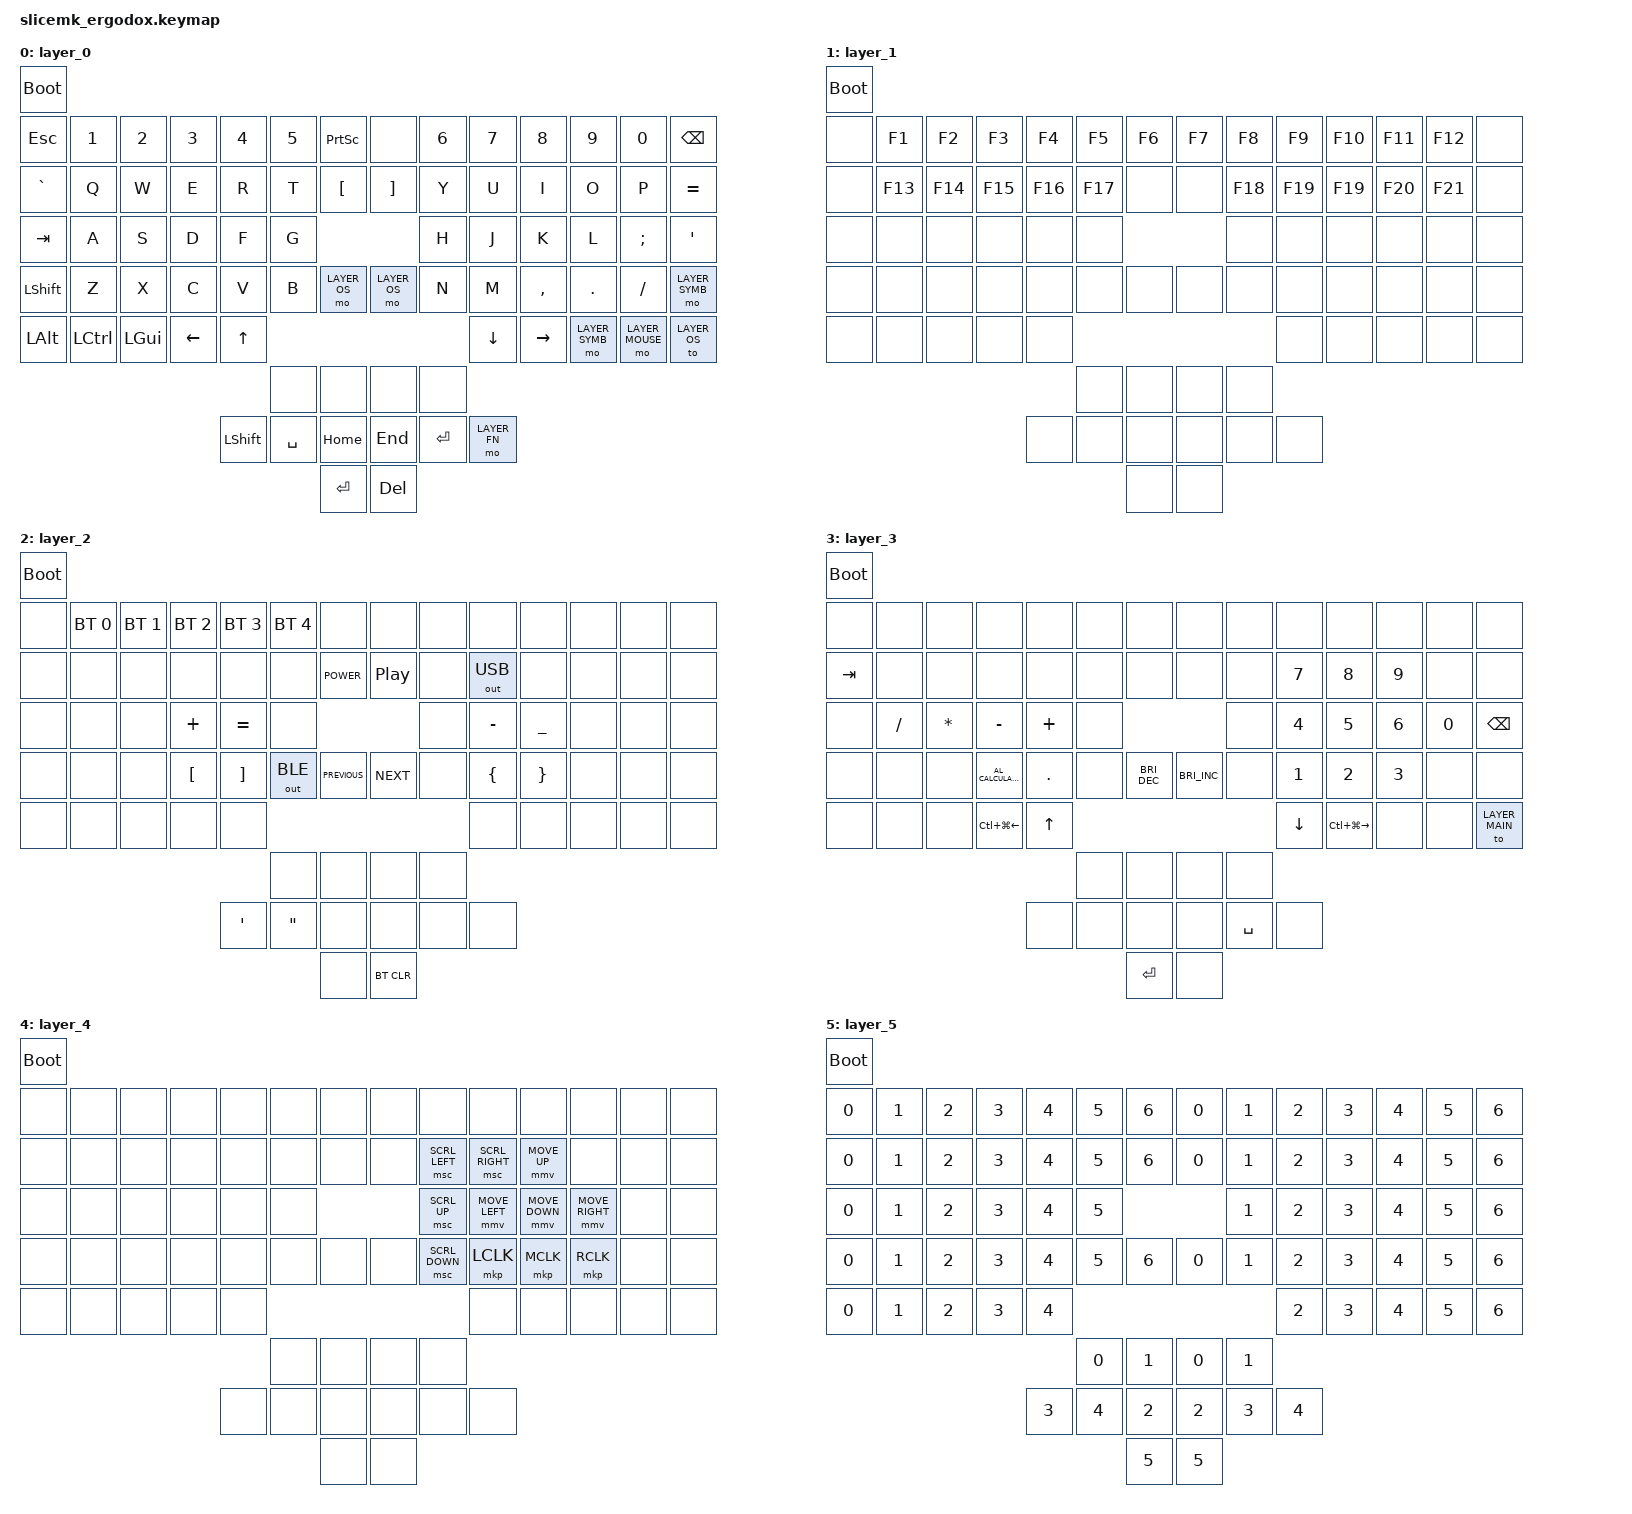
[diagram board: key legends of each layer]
#define LAYER_MAIN 0
#define LAYER_FN 1
#define LAYER_SYMB 2
#define LAYER_OS 3
#define LAYER_MOUSE 4
#define LAYER_TESTING 5

#include <behaviors.dtsi>
#include <dt-bindings/zmk/bt.h>
#include <dt-bindings/zmk/keys.h>
#include <dt-bindings/zmk/outputs.h>
#include <dt-bindings/zmk/pointing.h>
#include <dt-bindings/zmk/rgb.h>

/ {
	keymap {
		compatible = "zmk,keymap";
		layer_0 {
			bindings = <
				&bootloader
				&kp ESCAPE     &kp NUMBER_1     &kp NUMBER_2 &kp NUMBER_3   &kp NUMBER_4   &kp NUMBER_5 &kp PRINTSCREEN  &none             &kp NUMBER_6 &kp NUMBER_7   &kp NUMBER_8    &kp NUMBER_9   &kp NUMBER_0    &kp BACKSPACE
				&kp GRAVE      &kp Q            &kp W        &kp E          &kp R          &kp T        &kp LEFT_BRACKET &kp RIGHT_BRACKET &kp Y        &kp U          &kp I           &kp O          &kp P           &kp EQUAL
				&kp TAB        &kp A            &kp S        &kp D          &kp F          &kp G                                           &kp H        &kp J          &kp K           &kp L          &kp SEMICOLON   &kp SINGLE_QUOTE
				&kp LEFT_SHIFT &kp Z            &kp X        &kp C          &kp V          &kp B        &mo LAYER_OS     &mo LAYER_OS      &kp N        &kp M          &kp COMMA       &kp PERIOD     &kp SLASH       &mo LAYER_SYMB
				&kp LEFT_ALT   &kp LEFT_CONTROL &kp LEFT_GUI &kp LEFT_ARROW &kp UP_ARROW                                                                &kp DOWN_ARROW &kp RIGHT_ARROW &mo LAYER_SYMB &mo LAYER_MOUSE &to LAYER_OS
				                                                                           &none        &none            &none             &none
				                                                            &kp LEFT_SHIFT &kp SPACE    &kp HOME         &kp END           &kp RETURN   &mo LAYER_FN
				                                                                                        &kp RETURN       &kp DELETE
			>;
		};
		layer_1 {
			bindings = <
				&bootloader
				&none &kp F1  &kp F2  &kp F3  &kp F4  &kp F5  &kp F6 &kp F7 &kp F8  &kp F9  &kp F10 &kp F11 &kp F12 &none
				&none &kp F13 &kp F14 &kp F15 &kp F16 &kp F17 &none  &none  &kp F18 &kp F19 &kp F19 &kp F20 &kp F21 &none
				&none &none   &none   &none   &none   &none                 &none   &none   &none   &none   &none   &none
				&none &none   &none   &none   &none   &none   &none  &none  &none   &none   &none   &none   &none   &none
				&none &none   &none   &none   &none                                 &none   &none   &none   &none   &none
				                                      &none   &none  &none  &none
				                              &none   &none   &none  &none  &none   &none
				                                              &none  &none
			>;
		};
		layer_2 {
			bindings = <
				&bootloader
				&none &bt BT_SEL 0 &bt BT_SEL 1 &bt BT_SEL 2     &bt BT_SEL 3      &bt BT_SEL 4      &none          &none            &none &none          &none           &none &none &none
				&none &none        &none        &none            &none             &none             &kp C_POWER    &kp C_PLAY_PAUSE &none &out OUT_USB   &none           &none &none &none
				&none &none        &none        &kp PLUS         &kp EQUAL         &none                                             &none &kp MINUS      &kp UNDERSCORE  &none &none &none
				&none &none        &none        &kp LEFT_BRACKET &kp RIGHT_BRACKET &out OUT_BLE      &kp C_PREVIOUS &kp C_NEXT       &none &kp LEFT_BRACE &kp RIGHT_BRACE &none &none &none
				&none &none        &none        &none            &none                                                                     &none          &none           &none &none &none
				                                                                   &none             &none          &none            &none
				                                                 &kp SINGLE_QUOTE  &kp DOUBLE_QUOTES &none          &none            &none &none
				                                                                                     &none          &bt BT_CLR
			>;
		};
		layer_3 {
			bindings = <
				&bootloader
				&none   &none     &none        &none                  &none        &none &none                &none                &none     &none          &none                   &none        &none        &none
				&kp TAB &none     &none        &none                  &none        &none &none                &none                &none     &kp NUMBER_7   &kp NUMBER_8            &kp NUMBER_9 &none        &none
				&none   &kp SLASH &kp ASTERISK &kp MINUS              &kp PLUS     &none                                           &none     &kp NUMBER_4   &kp NUMBER_5            &kp NUMBER_6 &kp NUMBER_0 &kp BACKSPACE
				&none   &none     &none        &kp C_AL_CALCULATOR    &kp PERIOD   &none &kp C_BRIGHTNESS_DEC &kp C_BRIGHTNESS_INC &none     &kp NUMBER_1   &kp NUMBER_2            &kp NUMBER_3 &none        &none
				&none   &none     &none        &kp LC(LG(LEFT_ARROW)) &kp UP_ARROW                                                           &kp DOWN_ARROW &kp LC(LG(RIGHT_ARROW)) &none        &none        &to LAYER_MAIN
				                                                                   &none &none                &none                &none
				                                                      &none        &none &none                &none                &kp SPACE &none
				                                                                         &kp RETURN           &none
			>;
		};
		layer_4 {
			bindings = <
				&bootloader
				&none &none &none &none &none &none &none &none &none          &none           &none          &none           &none &none
				&none &none &none &none &none &none &none &none &msc SCRL_LEFT &msc SCRL_RIGHT &mmv MOVE_UP   &none           &none &none
				&none &none &none &none &none &none             &msc SCRL_UP   &mmv MOVE_LEFT  &mmv MOVE_DOWN &mmv MOVE_RIGHT &none &none
				&none &none &none &none &none &none &none &none &msc SCRL_DOWN &mkp LCLK       &mkp MCLK      &mkp RCLK       &none &none
				&none &none &none &none &none                                  &none           &none          &none           &none &none
				                              &none &none &none &none
				                        &none &none &none &none &none          &none
				                                    &none &none
			>;
		};
		layer_5 {
			bindings = <
				&bootloader
				&kp NUMBER_0 &kp NUMBER_1 &kp NUMBER_2 &kp NUMBER_3 &kp NUMBER_4 &kp NUMBER_5 &kp NUMBER_6 &kp NUMBER_0 &kp NUMBER_1 &kp NUMBER_2 &kp NUMBER_3 &kp NUMBER_4 &kp NUMBER_5 &kp NUMBER_6
				&kp NUMBER_0 &kp NUMBER_1 &kp NUMBER_2 &kp NUMBER_3 &kp NUMBER_4 &kp NUMBER_5 &kp NUMBER_6 &kp NUMBER_0 &kp NUMBER_1 &kp NUMBER_2 &kp NUMBER_3 &kp NUMBER_4 &kp NUMBER_5 &kp NUMBER_6
				&kp NUMBER_0 &kp NUMBER_1 &kp NUMBER_2 &kp NUMBER_3 &kp NUMBER_4 &kp NUMBER_5                           &kp NUMBER_1 &kp NUMBER_2 &kp NUMBER_3 &kp NUMBER_4 &kp NUMBER_5 &kp NUMBER_6
				&kp NUMBER_0 &kp NUMBER_1 &kp NUMBER_2 &kp NUMBER_3 &kp NUMBER_4 &kp NUMBER_5 &kp NUMBER_6 &kp NUMBER_0 &kp NUMBER_1 &kp NUMBER_2 &kp NUMBER_3 &kp NUMBER_4 &kp NUMBER_5 &kp NUMBER_6
				&kp NUMBER_0 &kp NUMBER_1 &kp NUMBER_2 &kp NUMBER_3 &kp NUMBER_4                                                     &kp NUMBER_2 &kp NUMBER_3 &kp NUMBER_4 &kp NUMBER_5 &kp NUMBER_6
				                                                                 &kp NUMBER_0 &kp NUMBER_1 &kp NUMBER_0 &kp NUMBER_1
				                                                    &kp NUMBER_3 &kp NUMBER_4 &kp NUMBER_2 &kp NUMBER_2 &kp NUMBER_3 &kp NUMBER_4
				                                                                              &kp NUMBER_5 &kp NUMBER_5
			>;
		};
	};
};
